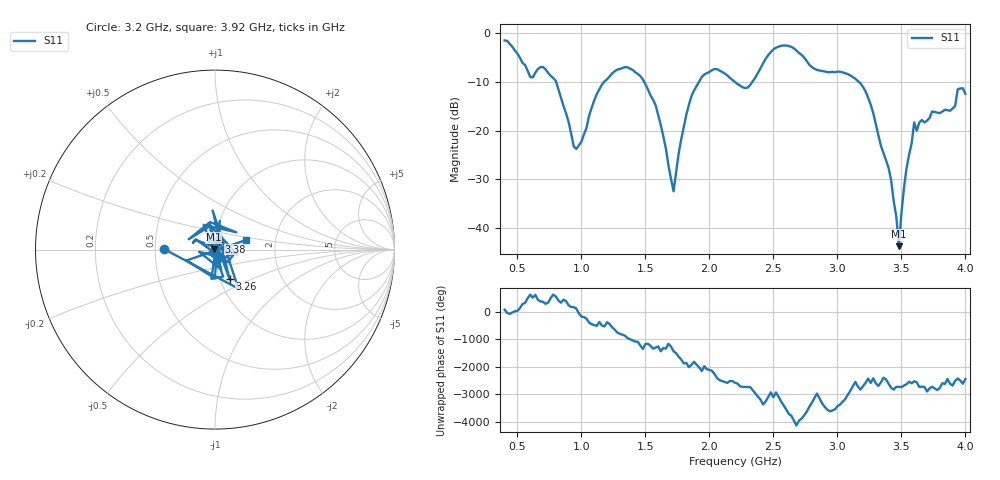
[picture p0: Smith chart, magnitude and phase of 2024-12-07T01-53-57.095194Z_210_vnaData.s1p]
!Created with skrf (http://scikit-rf.org).
# Hz S RI R 50.0
!freq ReS11 ImS11
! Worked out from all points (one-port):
!   181 points, 400 MHz to 4 GHz, reference 50 ohm
!   lowest |S11| = -43.7 dB at 3.48 GHz (marker M1), VSWR 1.01, Z = 49.4 + j0.272 ohm
!   |S11| at or under -10 dB: 802.6 MHz to 1.176 GHz (373.6 MHz wide, 37.8 % of centre); 1.491 GHz to 1.917 GHz (426.3 MHz wide, 25 % of centre); 3.168 GHz to end of sweep (the widest 3 of 4)
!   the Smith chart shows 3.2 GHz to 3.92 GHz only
!   S11 on the Smith chart (normalised r, x): 3.2 GHz: 0.56, +0.00; 3.26 GHz: 1.11, -0.38; 3.38 GHz: 1.04, +0.09; 3.92 GHz: 1.40, +0.15
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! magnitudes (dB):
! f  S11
! 400 MHz  -1.5
! 600 MHz  -8.9
! 720 MHz  -7.4
! 860 MHz  -14.9
! 960 MHz  -23.8
! 1.14 GHz  -11.5
! 1.3 GHz  -7.3
! 1.46 GHz  -8.8
! 1.58 GHz  -14.8
! 1.72 GHz  -32.5
! 1.76 GHz  -24.6
! 1.86 GHz  -12.9
! 1.94 GHz  -9.0
! 2.2 GHz  -10.0
! 2.3 GHz  -11.1
! 2.5 GHz  -3.3
! 2.66 GHz  -3.1
! 3.1 GHz  -8.6
! 3.2 GHz  -11.0
! 3.26 GHz  -14.7
! 3.38 GHz  -26.1
! 3.42 GHz  -30.2
! 3.48 GHz  -43.7
! 3.56 GHz  -25.0
! 3.6 GHz  -18.3
! 3.92 GHz  -15.0
! 3.94 GHz  -11.5
! 4 GHz  -12.4
